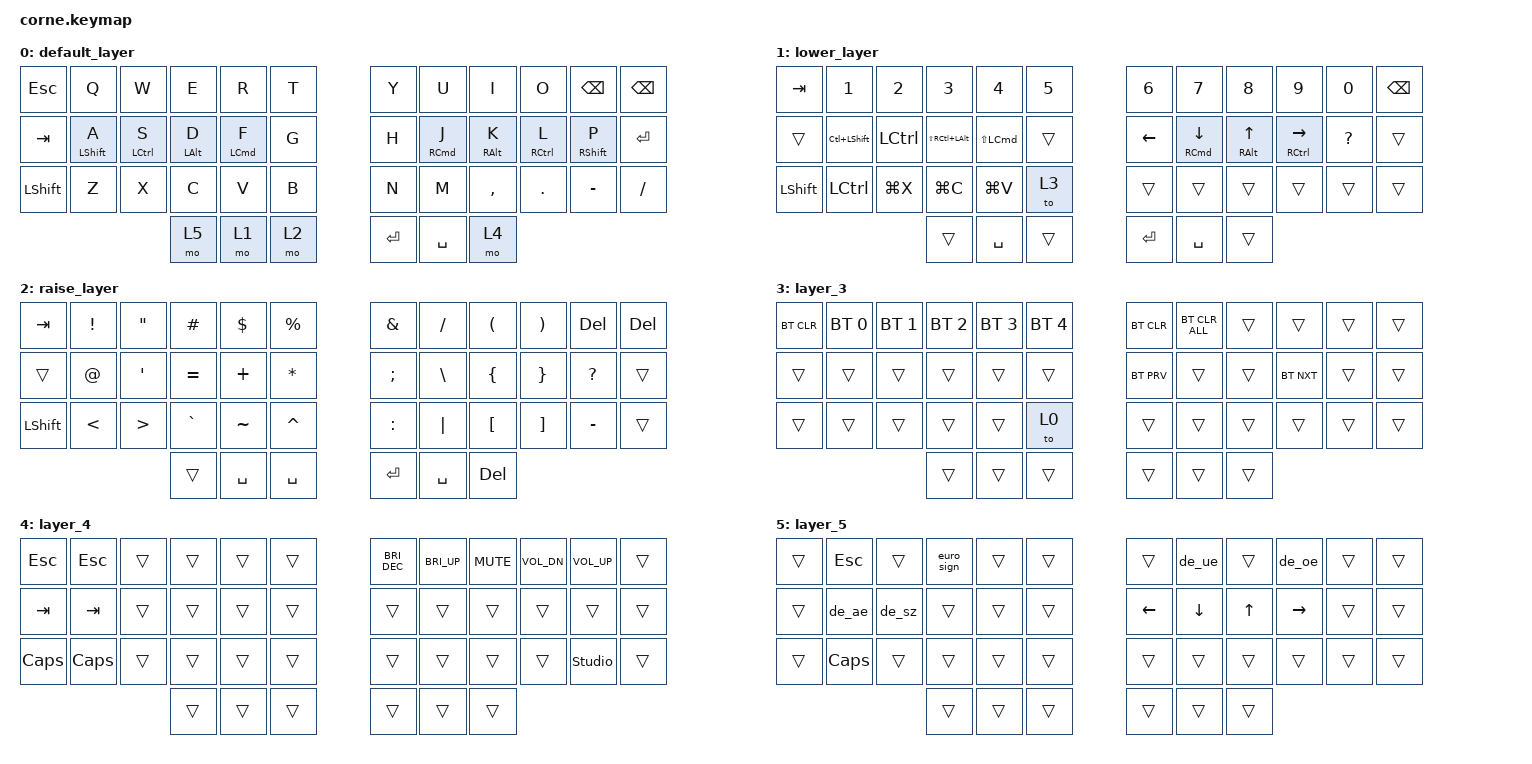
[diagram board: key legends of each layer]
/*
 * Copyright (c) 2020 The ZMK Contributors
 *
 * SPDX-License-Identifier: MIT
 */

#include <behaviors.dtsi>
#include <dt-bindings/zmk/bt.h>
#include <dt-bindings/zmk/keys.h>

// LS 23.01.2025 advice from zmk docs
// #include <zmk/unicode.h> 

#define HOST_OS 2
#include "zmk-helpers/helper.h"
// Source desired key-position labels
#include "zmk-helpers/key-labels/glove80.h"
// Source unicode-chars for desired languages
#include "zmk-helpers/unicode-chars/german.dtsi"

// Including the ZMK_Unicodea_pairs/single for Umlaute and special characters
ZMK_UNICODE_PAIR( de_ae,   N0, N0,  E, N4,   N0, N0,  C, N4 ) // ä, Ä
ZMK_UNICODE_PAIR( de_oe,   N0, N0,  F, N6,   N0, N0,  D, N6 ) // ö, Ö
ZMK_UNICODE_PAIR( de_ue,   N0, N0,  F,  C,   N0, N0,  D,  C ) // ü, Ü
ZMK_UNICODE_SINGLE(euro_sign, N2, N0, A, C) // €
ZMK_UNICODE_SINGLE(de_sz, N0, N0, D, F) // ß 


/ {
    behaviors {
        homerowL: homerowL {
            compatible = "zmk,behavior-hold-tap";
            label = "HOMEROWL";
            bindings = <&kp>, <&kp>;

            #binding-cells = <2>;
            tapping-term-ms = <200>;
            hold-trigger-key-positions = <13 14 15 16 17 18 19 20 21 22>;
            quick-tap-ms = <(-1)>;
            require-prior-idle-ms = <(-1)>;
            flavor = "balanced";
            hold-while-undecided;
        };
    };


    combos {
        compatible = "zmk,combos";

        number_selector {
            bindings = <&to 1>;
            key-positions = <2 3 4 1>;
        };

        default_selector {
            bindings = <&to 0>;
            key-positions = <13 14 15 16>;
        };

        special_selector {
            bindings = <&to 2>;
            key-positions = <7 8 9 10>;
        };

        question_mark {
            bindings = <&kp QUESTION>;
            key-positions = <36 13 11>;
        };
    };


    keymap {
        compatible = "zmk,keymap";

        default_layer {
			// ┌────────┬────────┬────────┬────────┬────────┬────────┐       ┌────────┬────────┬────────┬────────┬────────┬────────┐
			// │  TAB   │   Q    │   W    │   E    │   R    │   T    │       │   Y    │   U    │   I    │   O    │ BSPC   │ BSPC   │
			// ├────────┼────────┼────────┼────────┼────────┼────────┤       ├────────┼────────┼────────┼────────┼────────┼────────┤
			// │ CTRL   │   A    │   S    │   D    │   F    │   G    │       │   H    │   J    │   K    │   L    │   P    │   '    │
			// ├────────┼────────┼────────┼────────┼────────┼────────┤       ├────────┼────────┼────────┼────────┼────────┼────────┤
			// │ SHFT   │   Z    │   X    │   C    │   V    │   B    │       │   N    │   M    │   ,    │   .    │   -    │  ESC   │
			// └────────┴────────┴────────┴────────┴────────┴────────┘       └────────┴────────┴────────┴────────┴────────┴────────┘
			//                        ┌────────┬────────┬────────┐               ┌────────┬────────┬────────┐
			//                        │  L5    │  L1    │  L2    │               │  SPC   │  ENT   │   L4   │
			//                        └────────┴────────┴────────┘               └────────┴────────┴────────┘
            bindings = <
&kp ESCAPE  &kp Q                   &kp W                     &kp E                 &kp R                     &kp T    &kp Y      &kp U                      &kp I                  &kp O                      &kp BACKSPACE            &kp BSPC
&kp TAB     &homerowL LEFT_SHIFT A  &homerowL LEFT_CONTROL S  &homerowL LEFT_ALT D  &homerowL LEFT_COMMAND F  &kp G    &kp H      &homerowL RIGHT_COMMAND J  &homerowL RIGHT_ALT K  &homerowL RIGHT_CONTROL L  &homerowL RIGHT_SHIFT P  &kp ENTER
&kp LSHFT   &kp Z                   &kp X                     &kp C                 &kp V                     &kp B    &kp N      &kp M                      &kp COMMA              &kp DOT                    &kp MINUS                &kp SLASH
                                                              &mo 5                 &mo 1                     &mo 2    &kp ENTER  &kp SPACE                  &mo 4
            >;
        };


        lower_layer {
			// ┌────────┬────────┬────────┬────────┬────────┬────────┐       ┌────────┬────────┬────────┬────────┬────────┬────────┐
			// │  TAB   │   1    │   2    │   3    │   4    │   5    │       │   6    │   7    │   8    │   9    │   0    │ BSPC   │
			// ├────────┼────────┼────────┼────────┼────────┼────────┤       ├────────┼────────┼────────┼────────┼────────┼────────┤
			// │        │        │        │        │        │        │       │  LFT   │  DWN   │  UP    │  RGT   │        │        │
			// ├────────┼────────┼────────┼────────┼────────┼────────┤       ├────────┼────────┼────────┼────────┼────────┼────────┤
			// │ SHFT   │        │  CX    │  CC    │  CV    │  L3    │       │        │        │        │        │        │        │
			// └────────┴────────┴────────┴────────┴────────┴────────┘       └────────┴────────┴────────┴────────┴────────┴────────┘
			//                        ┌────────┬────────┬────────┐               ┌────────┬────────┬────────┐
			//                        │        │   SPC  │        │               │  ENT   │  SPC   │        │
			//                        └────────┴────────┴────────┘               └────────┴────────┴────────┘
            bindings = <
&kp TAB    &kp NUMBER_1        &kp N2            &kp N3                &kp N4                &kp N5    &kp N6    &kp N7                        &kp N8                        &kp N9                         &kp N0        &kp BSPC
&trans     &kp LC(LEFT_SHIFT)  &kp LEFT_CONTROL  &kp LS(RC(LEFT_ALT))  &kp LS(LEFT_COMMAND)  &trans    &kp LEFT  &homerowL RIGHT_COMMAND DOWN  &homerowL RIGHT_ALT UP_ARROW  &homerowL RIGHT_CONTROL RIGHT  &kp QUESTION  &trans
&kp LSHFT  &kp LEFT_CONTROL    &kp LG(X)         &kp LG(C)             &kp LG(V)             &to 3     &trans    &trans                        &trans                        &trans                         &trans        &trans
                                                 &trans                &kp SPACE             &trans    &kp RET   &kp SPACE                     &trans
            >;
        };


        // LS 2025_06.08 - added &kp CARET here!
        raise_layer {
			// ┌────────┬────────┬────────┬────────┬────────┬────────┐       ┌────────┬────────┬────────┬────────┬────────┬────────┐
			// │  TAB   │   !    │   "    │   #    │   $    │   %    │       │   &    │   /    │   (    │   )    │  DEL   │  DEL   │
			// ├────────┼────────┼────────┼────────┼────────┼────────┤       ├────────┼────────┼────────┼────────┼────────┼────────┤
			// │ CTRL   │   @    │   '    │   =    │   +    │   *    │       │   ;    │   \    │   [    │   ]    │   ?    │        │
			// ├────────┼────────┼────────┼────────┼────────┼────────┤       ├────────┼────────┼────────┼────────┼────────┼────────┤
			// │ SHFT   │   <    │   >    │   `    │   ~    │   ^    │       │   :    │   |    │   {    │   }    │   -    │        │
			// └────────┴────────┴────────┴────────┴────────┴────────┘       └────────┴────────┴────────┴────────┴────────┴────────┘
			//                        ┌────────┬────────┬────────┐               ┌────────┬────────┬────────┐
			//                        │        │  SPC   │  SPC   │               │  RET   │  SPC   │  DEL   │
			//                        └────────┴────────┴────────┘               └────────┴────────┴────────┘
            bindings = <
&kp TAB    &kp EXCL       &kp DOUBLE_QUOTES  &kp HASH   &kp DLLR   &kp PRCNT       &kp AMPERSAND  &kp SLASH      &kp LEFT_PARENTHESIS  &kp RIGHT_PARENTHESIS  &kp DELETE    &kp DELETE
&trans     &kp AT         &kp SINGLE_QUOTE   &kp EQUAL  &kp PLUS   &kp ASTERISK    &kp SEMI       &kp BACKSLASH  &kp LEFT_BRACE        &kp RIGHT_BRACE        &kp QUESTION  &trans
&kp LSHFT  &kp LESS_THAN  &kp GREATER_THAN   &kp GRAVE  &kp TILDE  &kp CARET          &kp COLON      &kp PIPE       &kp LEFT_BRACKET      &kp RIGHT_BRACKET      &kp MINUS     &trans
                                             &trans     &kp SPACE  &kp SPACE       &kp RET        &kp SPACE      &kp DELETE
            >;
        };


        layer_3 {
			// ┌────────┬────────┬────────┬────────┬────────┬────────┐       ┌────────┬─────────┬────────┬────────┬────────┬────────┐
			// │ BT_CLR │ BT_0   │ BT_1   │ BT_2   │ BT_3   │ BT_4   │       │ BT_CLR │ CLR_ALL │        │        │        │        │
			// ├────────┼────────┼────────┼────────┼────────┼────────┤       ├────────|─────────┼────────┼────────┼────────┼────────┤
			// │        │        │        │        │        │        │       │ BT_PRV │         │        │ BT_NEXT│        │        │
			// ├────────┼────────┼────────┼────────┼────────┼────────┤       ├────────┼─────────┼────────┼────────┼────────┼────────┤
			// │        │        │        │        │        │ TO 0   │       │        │         │        │        │        │        │
			// └────────┴────────┴────────┴────────┴────────┴────────┘       └────────┴─────────┴────────┴────────┴────────┴────────┘
			//                        ┌────────┬────────┬────────┐               ┌────────┬────────┬────────┐
			//                        │        │        │        │               │        │        │        │
			//                        └────────┴────────┴────────┘               └────────┴────────┴────────┘

            bindings = <
&bt BT_CLR  &bt BT_SEL 0  &bt BT_SEL 1  &bt BT_SEL 2  &bt BT_SEL 3  &bt BT_SEL 4    &bt BT_CLR  &bt BT_CLR_ALL  &trans  &trans      &trans  &trans
&trans      &trans        &trans        &trans        &trans        &trans          &bt BT_PRV  &trans          &trans  &bt BT_NXT  &trans  &trans
&trans      &trans        &trans        &trans        &trans        &to 0           &trans      &trans          &trans  &trans      &trans  &trans
                                        &trans        &trans        &trans          &trans      &trans          &trans
            >;
        };


        layer_4 {
            // ┌────────┬────────┬────────┬────────┬────────┬────────┐       ┌────────┬────────┬────────┬────────┬────────┬────────┐
			// │ ESC    │ ESC    │        │        │        │        │       │ BRI-   │  BRI+  │  MUTE  │  VOL-  │  VOL+  │        │
			// ├────────┼────────┼────────┼────────┼────────┼────────┤       ├────────┼────────┼────────┼────────┼────────┼────────┤
			// │ TAB    │  TAB   │        │        │        │        │       │        │        │        │        │        │        │
			// ├────────┼────────┼────────┼────────┼────────┼────────┤       ├────────┼────────┼────────┼────────┼────────┼────────┤
			// │ CAPS   │ CAPS   │        │        │        │        │       │        │        │        │        │ZMK STD │        │
			// └────────┴────────┴────────┴────────┴────────┴────────┘       └────────┴────────┴────────┴────────┴────────┴────────┘
			//                        ┌────────┬────────┬────────┐               ┌────────┬────────┬────────┐
			//                        │        │        │        │               │        │        │        │
			//                        └────────┴────────┴────────┘               └────────┴────────┴────────┘

            bindings = <
&kp ESCAPE    &kp ESCAPE    &trans  &trans  &trans  &trans    &kp C_BRI_DEC  &kp C_BRI_UP  &kp K_MUTE  &kp C_VOL_DN  &kp C_VOLUME_UP  &trans
&kp TAB       &kp TAB       &trans  &trans  &trans  &trans    &trans        &trans         &trans      &trans        &trans           &trans
&kp CAPSLOCK  &kp CAPSLOCK  &trans  &trans  &trans  &trans    &trans         &trans        &trans      &trans        &studio_unlock   &trans
                                    &trans  &trans  &trans    &trans         &trans        &trans
            >;
        };


                layer_5 {
            // ┌────────┬────────┬────────┬────────┬────────┬────────┐       ┌────────┬────────┬────────┬────────┬────────┬────────┐
			// │        │  ESC   │        │   €    │        │        │       │        │   Ü    │        │   Ö    │        │        │
			// ├────────┼────────┼────────┼────────┼────────┼────────┤       ├────────┼────────┼────────┼────────┼────────┼────────┤
			// │        │   Ä    │   ß    │        │        │        │       │ LEFT   │ DOWN   │   UP   │ RIGHT  │        │        │
			// ├────────┼────────┼────────┼────────┼────────┼────────┤       ├────────┼────────┼────────┼────────┼────────┼────────┤
			// │        │  CAPS  │        │        │        │        │       │        │        │        │        │        │        │
			// └────────┴────────┴────────┴────────┴────────┴────────┘       └────────┴────────┴────────┴────────┴────────┴────────┘
			//                        ┌────────┬────────┬────────┐               ┌────────┬────────┬────────┐
			//                        │        │        │        │               │        │        │        │
			//                        └────────┴────────┴────────┘               └────────┴────────┴────────┘

            bindings = <
&trans    &kp ESCAPE    &trans  &euro_sign  &trans  &trans      &trans     &de_ue     &trans        &de_oe        &trans           &trans
&trans    &de_ae        &de_sz  &trans      &trans  &trans      &kp LEFT   &kp DOWN   &kp UP_ARROW  &kp RIGHT     &trans           &trans
&trans    &kp CAPS      &trans  &trans      &trans  &trans      &trans     &trans     &trans        &trans        &trans           &trans
                            &trans      &trans  &trans      &trans     &trans        &trans
            >;
        };
    };
};
